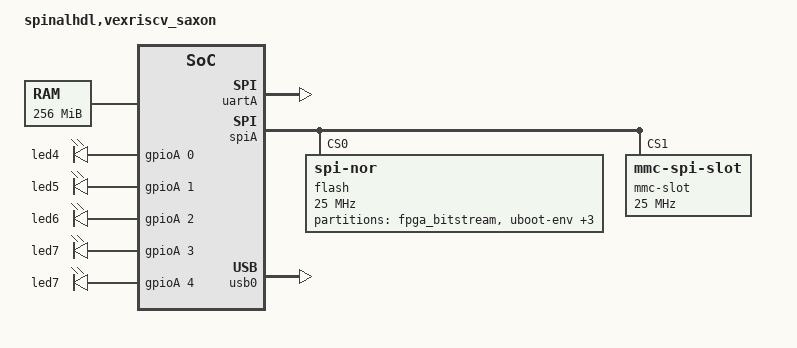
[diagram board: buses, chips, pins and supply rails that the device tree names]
/dts-v1/;
#include <dt-bindings/gpio/gpio.h>
#include <dt-bindings/input/input.h>
#include <dt-bindings/interrupt-controller/irq.h>

#define SAXON_CPU_ISA "rv32imafd"

/ {
    #address-cells = <0x1>;
    #size-cells = <0x1>;
    compatible = "spinalhdl,vexriscv";
    model = "spinalhdl,vexriscv_saxon";

    chosen {
        bootargs = "rootwait console=hvc0 earlycon=sbi root=/dev/mmcblk0p2 init=/sbin/init mmc_core.use_spi_crc=0 loglevel=8"; // loglevel=8

        //bootargs = "rootwait console=hvc0 earlycon=sbi root=/dev/ram0 init=/boot mmc_core.use_spi_crc=0";
        //bootargs = "rootwait console=hvc0 earlycon=sbi root=/dev/ram0 init=/sbin/init mmc_core.use_spi_crc=0";
        //linux,initrd-start = <0x81000000>;
        //linux,initrd-end =   <0x82400000>;
    };

    cpus {
        #address-cells = <0x1>;
        #size-cells = <0x0>;
        timebase-frequency = <100000000>;
        #include <boards/common/dts/linux_cpu.dts>
    };

    memory@80000000 {
        device_type = "memory";
        reg = <0x80000000 0x10000000>;
    };



    reserved-memory {
        #address-cells = <1>;
        #size-cells = <1>;
        ranges;

        opensbi: sbi@80F80000 {
            reg = <0x80F80000 0x80000>;
        };
        framebuffer: sbi@8F000000 {
            reg = <0x8F000000 0x1000000>;
        };
    };


	periph_clock: clock@0 {
		#clock-cells = <0>;
		compatible = "fixed-clock";
		clock-frequency = <100000000>;
		//clock-output-names = "periph_clock";
	};

    framebuffer0: framebuffer@8F000000 {
        compatible = "spinalhdl,framebuffer-1.0";
        reg = <0x8F000000 (1920 * 1024 * 4)>,
              <0x10090000 0x1000>;
        clocks = <&pll2>;
        dmas = <&dmaA 0>;
        dma-names = "stream";

        format = "r5g6b5";
        mode = "640x480@60m";
    };

    periph@10000000 {
        compatible = "simple-bus";
        #address-cells = <0x1>;
        #size-cells = <0x1>;
        ranges = <0x0 0x10000000 0x01000000>;

        pll2: clock@90000 {
            compatible = "spinalhdl,clk-mmcme2-1.0";
            reg = <0x91000 0x1000>;
            #clock-cells = <0>;
            clocks = <&periph_clock>;
        };


        plic: interrupt-controller@c00000 {
            compatible = "sifive,plic-1.0.0", "sifive,fu540-c000-plic";
            #interrupt-cells = <1>;
            interrupt-controller;
            interrupts-extended = <
                #include <boards/common/dts/linux_plic_link.dts>
            >;
            reg = <0x00C00000 0x400000>;
            riscv,ndev = <32>;
        };

        gpioA: gpio@0 {
            compatible = "spinalhdl,gpio-1.0";
            reg = <0x000000 0x1000>;
            ngpio = <32>;
            interrupt-parent = <&plic>;
            interrupts-pin = <5  6  7  8 9 18 19 20 21>;
            interrupts     = <4  5  6  7 8 9  10 11 12>;
            gpio-controller;
            #gpio-cells = <2>;
            interrupt-controller;
            #interrupt-cells = <2>;
        };

        uartA: ttySpinal@10000 {
                compatible = "spinalhdl,uart-1.0";
                reg = <0x10000 0x1000>;
                clocks = <&periph_clock>;
        };

        spiA: spi@20000 {
            compatible = "spinalhdl,spi-1.0";
            #address-cells = <1>;
            #size-cells = <0>;   
            reg = <0x020000 0x1000>;
            cmd_fifo_depth = <256>;
            rsp_fifo_depth = <256>;
            clocks = <&periph_clock>;
            cs-gpios = <0>, <0>, <&gpioA 18 0>, <&gpioA 19 0>, <&gpioA 20 0>;
                   
            flash: flash@0 {
                #address-cells = <1>;
                #size-cells = <1>;
                compatible = "spi-nor";
                reg = <0>;
                spi-max-frequency = <25000000>;

                partition@0 {
                    label = "fpga_bitstream";
                    reg = <0x000000 0xC00000>;
                };
                partition@1 {
                    label = "uboot-env";
                    reg = <0xC00000 0xA00000>;
                };
                partition@2 {
                    label = "opensbi";
                    reg = <0xD00000 0x010000>;
                };
                partition@3 {
                    label = "uboot";
                    reg = <0xD40000 0x040000>;
                };
                partition@4 {
                    label = "user";
                    reg = <0xE00000 0x1200000>;
                };
            };

            mmc-slot@1 {
                compatible = "mmc-spi-slot";
                reg = <1>;
                voltage-ranges = <3300 3300>;
                spi-max-frequency = <25000000>;
            };

        };

        dmaA: dma@80000 {
            compatible = "spinalhdl,dmasg-1.0";
            reg = <0x80000 0x10000>;
            interrupt-parent = <&plic>;
            interrupts = <14>;

			#dma-cells = <1>;
            #address-cells = <1>;
            #size-cells = <0>;   
            dma-channel@0 {
	            reg = <0>;
			    interrupt-parent = <&plic>;
			    interrupts = <14>;
            };
            dma-channel@1 {
	            reg = <1>;
			    interrupt-parent = <&plic>;
			    interrupts = <15>;
            };
        };

        usb0: ohci@a0000 {
          compatible = "generic-ohci";
          reg = <0xa0000 0x1000>;
          interrupt-parent = <&plic>;
          interrupts = <16>;
        };

        audio_out0: audio_out@94000 {
            compatible = "spinalhdl,audio_out-1.0";
            reg = <0x94000 0x1000>;

            dmas = <&dmaA 1>;
            dma-names = "tx";

            clocks = <&periph_clock>;
        };
    };

    leds: leds {
        compatible = "gpio-leds";

        led0 {
            label = "led4";
            gpios = <&gpioA 0 0>;
            linux,default-trigger = "none";
        };
        led1 {
            label = "led5";
            gpios = <&gpioA 1 0>;
            linux,default-trigger = "none";
        };
        led2 {
            label = "led6";
            gpios = <&gpioA 2 0>;
            linux,default-trigger = "mmc0";
        };
        led3 {
            label = "led7";
            gpios = <&gpioA 3 0>;
            linux,default-trigger = "activity";
        };
        led4 {
            label = "led7";
            gpios = <&gpioA 4 0>;
            linux,default-trigger = "heartbeat";
        };
    };
};


